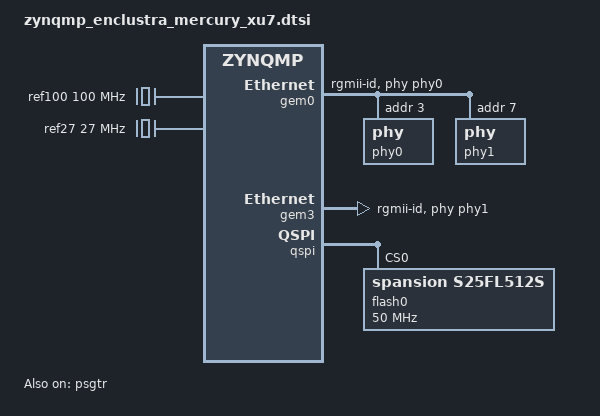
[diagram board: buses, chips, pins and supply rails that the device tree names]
/ {
	aliases {
		ethernet0 = &gem0;
		ethernet1 = &gem3;
		i2c0 = &i2c0;
		serial0 = &uart0;
		spi0 = &qspi;
	};
};

&gem0 {
	status = "okay";
	/delete-property/ local-mac-address;
	phy-mode = "rgmii-id";
	phy-handle = <&phy0>;
	phy0: phy@3 {
		reg = <3>;

		txc-skew-ps = <1800>;
		txen-skew-ps = <420>;

		txd0-skew-ps = <420>;
		txd1-skew-ps = <420>;
		txd2-skew-ps = <420>;
		txd3-skew-ps = <420>;

		rxc-skew-ps = <900>;
		rxdv-skew-ps = <420>;

		rxd0-skew-ps = <420>;
		rxd1-skew-ps = <420>;
		rxd2-skew-ps = <420>;
		rxd3-skew-ps = <420>;		
	};
	phy1: phy@7 {
		reg = <7>;

		txc-skew-ps = <1800>;
		txen-skew-ps = <420>;

		txd0-skew-ps = <420>;
		txd1-skew-ps = <420>;
		txd2-skew-ps = <420>;
		txd3-skew-ps = <420>;

		rxc-skew-ps = <900>;
		rxdv-skew-ps = <420>;

		rxd0-skew-ps = <420>;
		rxd1-skew-ps = <420>;
		rxd2-skew-ps = <420>;
		rxd3-skew-ps = <420>;		
	};
};

&gem3 {
	status = "okay";
	/delete-property/ local-mac-address;
	phy-handle = <&phy1>;
	phy-mode = "rgmii-id";
};

&qspi {
	status = "okay";
	#address-cells = <1>;
	#size-cells = <0>;
	is-dual = <0>;
	num-cs = <1>;
	flash0: flash@0 {
		reg = <0x0>;
		compatible = "spansion,s25fl512s", "jedec,spi-nor";
		spi-rx-bus-width = <0x4>;
		spi-tx-bus-width = <0x4>;
		spi-max-frequency = <50000000>;
		#address-cells = <1>;
		#size-cells = <1>;
	};
};

&psgtr {
	status = "okay";
	clocks = <&ref100>, <&ref27>;
	clock-names = "ref2", "ref3";
};

&amba {
	ref100: ref100M {
		compatible = "fixed-clock";
		#clock-cells = <0>;
		clock-frequency = <100000000>;
	};
	ref27: ref27M {
		compatible = "fixed-clock";
		#clock-cells = <0>;
		clock-frequency = <27000000>;
	};
};

